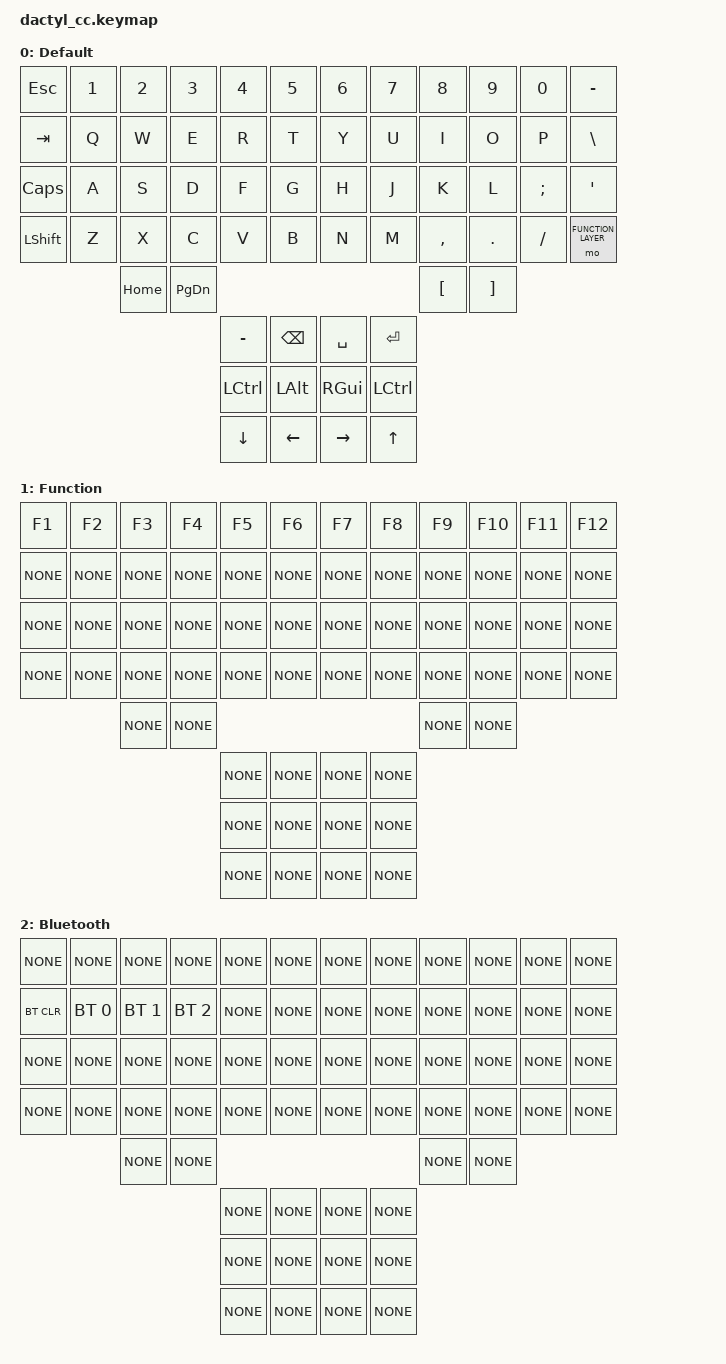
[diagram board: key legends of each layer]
#include <behaviors.dtsi>
#include <dt-bindings/zmk/keys.h>
#include <dt-bindings/zmk/bt.h>

#define DEFAULT_LAYER  0
#define FUNCTION_LAYER 1
#define BLUETOOTH_LAYER 2

&sl {
    release-after-ms = <5000>;
};

&kscan0 {
    debounce-press-ms = <30>;
    debounce-release-ms = <30>;
};

/ {
    combos {
        compatible = "zmk,combos";

        bt {
            bindings = <&mo BLUETOOTH_LAYER>;
            key-positions = <1, 2>;
        };
    };

    keymap {
        compatible = "zmk,keymap";

        // Default layer
        default_layer {
            display-name = "Default";
            bindings = <
    &kp ESC         &kp N1     &kp N2    &kp N3         &kp N4            &kp N5                  &kp N6        &kp N7     &kp N8     &kp N9      &kp N0         &kp MINUS
    &kp TAB         &kp Q      &kp W     &kp E          &kp R             &kp T                   &kp Y         &kp U      &kp I      &kp O       &kp P          &kp BSLH
    &kp CLCK        &kp A      &kp S     &kp D          &kp F             &kp G                   &kp H         &kp J      &kp K      &kp L       &kp SEMICOLON  &kp SINGLE_QUOTE
    &kp LEFT_SHIFT  &kp Z      &kp X     &kp C          &kp V             &kp B                   &kp N         &kp M      &kp COMMA  &kp PERIOD  &kp SLASH      &mo FUNCTION_LAYER
                           &kp HOME  &kp PAGE_DOWN                                                                         &kp LBKT   &kp RBKT
                                                    &kp MINUS        &kp BACKSPACE                 &kp SPACE        &kp ENTER
                                                    &kp LEFT_CONTROL &kp LEFT_ALT                  &kp RIGHT_GUI    &kp LEFT_CONTROL
                                                    &kp DOWN         &kp LEFT_ARROW                &kp RIGHT_ARROW  &kp UP_ARROW    
            >;
        };

        // Function layer - analogous to 'Lower' layer in the original
        function_layer {
            display-name = "Function";
            bindings = <
    &kp F1    &kp F2      &kp F3     &kp F4    &kp F5    &kp F6                        &kp F7    &kp F8    &kp F9    &kp F10   &kp F11   &kp F12
    &kp NONE  &kp NONE    &kp NONE   &kp NONE  &kp NONE  &kp NONE                      &kp NONE  &kp NONE  &kp NONE  &kp NONE  &kp NONE  &kp NONE
    &kp NONE  &kp NONE    &kp NONE   &kp NONE  &kp NONE  &kp NONE                      &kp NONE  &kp NONE  &kp NONE  &kp NONE  &kp NONE  &kp NONE
    &kp NONE  &kp NONE    &kp NONE   &kp NONE  &kp NONE  &kp NONE                      &kp NONE  &kp NONE  &kp NONE  &kp NONE  &kp NONE  &kp NONE
                          &kp NONE   &kp NONE                                                              &kp NONE  &kp NONE
                                                &kp NONE  &kp NONE                     &kp NONE  &kp NONE
                                                &kp NONE  &kp NONE                     &kp NONE  &kp NONE  
                                                &kp NONE  &kp NONE                     &kp NONE  &kp NONE
            >;
        };

        // Bluetooth layer - analogous to 'Adjust' layer in the original
        bluetooth_layer {
            display-name = "Bluetooth";
            bindings = <
    &kp NONE      &kp NONE      &kp NONE      &kp NONE      &kp NONE      &kp NONE              &kp NONE  &kp NONE  &kp NONE  &kp NONE  &kp NONE    &kp NONE
    &bt BT_CLR    &bt BT_SEL 0  &bt BT_SEL 1  &bt BT_SEL 2  &kp NONE      &kp NONE              &kp NONE  &kp NONE  &kp NONE  &kp NONE  &kp NONE    &kp NONE
    &kp NONE      &kp NONE      &kp NONE      &kp NONE      &kp NONE      &kp NONE              &kp NONE  &kp NONE  &kp NONE  &kp NONE  &kp NONE    &kp NONE
    &kp NONE      &kp NONE      &kp NONE      &kp NONE      &kp NONE      &kp NONE              &kp NONE  &kp NONE  &kp NONE  &kp NONE  &kp NONE    &kp NONE
                                &kp NONE      &kp NONE                                                              &kp NONE  &kp NONE
                                                                 &kp NONE  &kp NONE            &kp NONE  &kp NONE
                                                                 &kp NONE  &kp NONE            &kp NONE  &kp NONE
                                                                 &kp NONE  &kp NONE            &kp NONE  &kp NONE  
            >;
        };
    };
};
